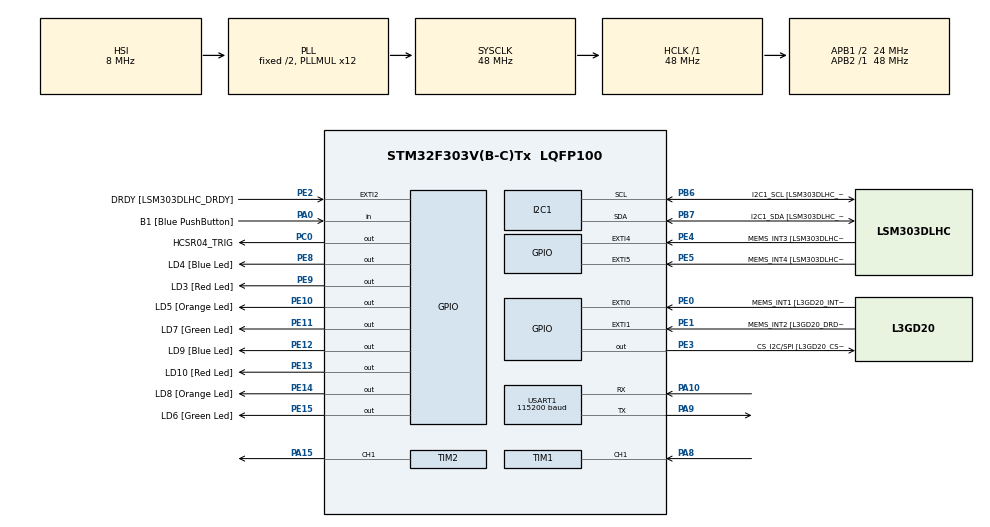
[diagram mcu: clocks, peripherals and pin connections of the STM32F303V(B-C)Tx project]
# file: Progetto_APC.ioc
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I2C1.Timing=0x00201D2B
Mcu.Family=STM32F3
Mcu.Name=STM32F303V(B-C)Tx
Mcu.Package=LQFP100
NVIC.PriorityGroup=NVIC_PRIORITYGROUP_0
NVIC.TIM1_CC_IRQn=true\:0\:0\:false\:false\:true\:true\:true\:true
NVIC.USART1_IRQn=true\:0\:0\:false\:false\:true\:true\:true\:true
PA0.GPIO_Label=B1 [Blue PushButton]
PA0.GPIO_Mode=GPIO_MODE_INPUT
PA0.GPIO_PuPd=GPIO_NOPULL
PA0.Signal=GPIO_Input
PA10.Mode=Asynchronous
PA10.Signal=USART1_RX
PA11.GPIO_Label=DM
PA11.Signal=USB_DM
PA12.GPIO_Label=DP
PA12.Signal=USB_DP
PA13.GPIO_Label=SWDIO
PA13.Signal=SYS_JTMS-SWDIO
PA14.GPIO_Label=SWCLK
PA14.Signal=SYS_JTCK-SWCLK
PA15.Signal=S_TIM2_CH1_ETR
PA5.GPIO_Label=SPI1_SCK [L3GD20_SCL/SPC]
PA5.GPIO_Mode=GPIO_MODE_AF_PP
PA5.GPIO_PuPd=GPIO_NOPULL
PA5.GPIO_Speed=GPIO_SPEED_FREQ_LOW
PA5.Signal=SPI1_SCK
PA6.GPIO_Label=SPI1_MISO [L3GD20_SA0/SDO]
PA6.GPIO_Mode=GPIO_MODE_AF_PP
PA6.GPIO_PuPd=GPIO_NOPULL
PA6.GPIO_Speed=GPIO_SPEED_FREQ_LOW
PA6.Signal=SPI1_MISO
PA7.GPIO_Label=SPI1_MISO [L3GD20_SDA/SDI/SDO]
PA7.GPIO_Mode=GPIO_MODE_AF_PP
PA7.GPIO_PuPd=GPIO_NOPULL
PA7.GPIO_Speed=GPIO_SPEED_FREQ_LOW
PA7.Signal=SPI1_MOSI
PA8.Signal=S_TIM1_CH1
PA9.Mode=Asynchronous
PA9.Signal=USART1_TX
PB3.GPIO_Label=SWO
PB3.Signal=SYS_JTDO-TRACESWO
PB6.GPIO_FM6=__NULL
PB6.GPIO_Label=I2C1_SCL [LSM303DLHC_SCL]
PB6.GPIO_Mode=GPIO_MODE_AF_OD
PB6.GPIO_PuPd=GPIO_NOPULL
PB6.GPIO_Speed=GPIO_SPEED_FREQ_LOW
PB6.Mode=I2C
PB6.Signal=I2C1_SCL
PB7.GPIO_FM7=__NULL
PB7.GPIO_Label=I2C1_SDA [LSM303DLHC_SDA]
PB7.GPIO_Mode=GPIO_MODE_AF_OD
PB7.GPIO_PuPd=GPIO_NOPULL
PB7.GPIO_Speed=GPIO_SPEED_FREQ_LOW
PB7.Mode=I2C
PB7.Signal=I2C1_SDA
PC0.GPIO_Label=HCSR04_TRIG
PC0.Signal=GPIO_Output
PC14-OSC32_IN.GPIO_Label=OSC32_IN
PC14-OSC32_IN.Signal=RCC_OSC32_IN
PC15-OSC32_OUT.GPIO_Label=OSC32_OUT
PC15-OSC32_OUT.Signal=RCC_OSC32_OUT
PE0.GPIO_Label=MEMS_INT1 [L3GD20_INT1]
PE0.GPIO_ModeDefaultEXTI=GPIO_MODE_EVT_RISING
PE0.GPIO_PuPd=GPIO_NOPULL
PE0.Signal=GPXTI0
PE1.GPIO_Label=MEMS_INT2 [L3GD20_DRDY/INT2]
PE1.GPIO_ModeDefaultEXTI=GPIO_MODE_EVT_RISING
PE1.GPIO_PuPd=GPIO_NOPULL
PE1.Signal=GPXTI1
PE10.GPIO_Label=LD5 [Orange Led]
PE10.GPIO_ModeDefaultOutputPP=GPIO_MODE_OUTPUT_PP
PE10.GPIO_PuPd=GPIO_NOPULL
PE10.GPIO_Speed=GPIO_SPEED_FREQ_LOW
PE10.Signal=GPIO_Output
PE11.GPIO_Label=LD7 [Green Led]
PE11.GPIO_ModeDefaultOutputPP=GPIO_MODE_OUTPUT_PP
PE11.GPIO_PuPd=GPIO_NOPULL
PE11.GPIO_Speed=GPIO_SPEED_FREQ_LOW
PE11.Signal=GPIO_Output
PE12.GPIO_Label=LD9 [Blue Led]
PE12.GPIO_ModeDefaultOutputPP=GPIO_MODE_OUTPUT_PP
PE12.GPIO_PuPd=GPIO_NOPULL
PE12.GPIO_Speed=GPIO_SPEED_FREQ_LOW
PE12.Signal=GPIO_Output
PE13.GPIO_Label=LD10 [Red Led]
PE13.GPIO_ModeDefaultOutputPP=GPIO_MODE_OUTPUT_PP
PE13.GPIO_PuPd=GPIO_NOPULL
PE13.GPIO_Speed=GPIO_SPEED_FREQ_LOW
PE13.Signal=GPIO_Output
PE14.GPIO_Label=LD8 [Orange Led]
PE14.GPIO_ModeDefaultOutputPP=GPIO_MODE_OUTPUT_PP
PE14.GPIO_PuPd=GPIO_NOPULL
PE14.GPIO_Speed=GPIO_SPEED_FREQ_LOW
PE14.Signal=GPIO_Output
PE15.GPIO_Label=LD6 [Green Led]
PE15.GPIO_ModeDefaultOutputPP=GPIO_MODE_OUTPUT_PP
PE15.GPIO_PuPd=GPIO_NOPULL
PE15.GPIO_Speed=GPIO_SPEED_FREQ_LOW
PE15.Signal=GPIO_Output
PE2.GPIO_Label=DRDY [LSM303DLHC_DRDY]
PE2.GPIO_ModeDefaultEXTI=GPIO_MODE_EVT_RISING
PE2.GPIO_PuPd=GPIO_NOPULL
PE2.Signal=GPXTI2
PE3.GPIO_Label=CS_I2C/SPI [L3GD20_CS_I2C/SPI]
PE3.GPIO_ModeDefaultOutputPP=GPIO_MODE_OUTPUT_PP
PE3.GPIO_PuPd=GPIO_NOPULL
PE3.GPIO_Speed=GPIO_SPEED_FREQ_LOW
PE3.Signal=GPIO_Output
PE4.GPIO_Label=MEMS_INT3 [LSM303DLHC_INT1]
PE4.GPIO_ModeDefaultEXTI=GPIO_MODE_EVT_RISING
PE4.GPIO_PuPd=GPIO_NOPULL
PE4.Signal=GPXTI4
PE5.GPIO_Label=MEMS_INT4 [LSM303DLHC_INT2]
PE5.GPIO_ModeDefaultEXTI=GPIO_MODE_EVT_RISING
PE5.GPIO_PuPd=GPIO_NOPULL
PE5.Signal=GPXTI5
PE8.GPIO_Label=LD4 [Blue Led]
PE8.GPIO_ModeDefaultOutputPP=GPIO_MODE_OUTPUT_PP
PE8.GPIO_PuPd=GPIO_NOPULL
PE8.GPIO_Speed=GPIO_SPEED_FREQ_LOW
PE8.Signal=GPIO_Output
PE9.GPIO_Label=LD3 [Red Led]
PE9.GPIO_ModeDefaultOutputPP=GPIO_MODE_OUTPUT_PP
PE9.GPIO_PuPd=GPIO_NOPULL
PE9.GPIO_Speed=GPIO_SPEED_FREQ_LOW
PE9.Signal=GPIO_Output
PF0-OSC_IN.GPIO_Label=OSC_IN
PF0-OSC_IN.Signal=RCC_OSC_IN
PF1-OSC_OUT.GPIO_Label=OSC_OUT
PF1-OSC_OUT.Signal=RCC_OSC_OUT
ProjectManager.HeapSize=0x200
ProjectManager.StackSize=0x400
ProjectManager.TargetToolchain=STM32CubeIDE
RCC.AHBFreq_Value=48000000
RCC.APB1CLKDivider=RCC_HCLK_DIV2
RCC.APB1Freq_Value=24000000
RCC.APB1TimFreq_Value=48000000
RCC.APB2Freq_Value=48000000
RCC.APB2TimFreq_Value=48000000
RCC.CortexFreq_Value=48000000
RCC.HCLKFreq_Value=48000000
RCC.HSE_VALUE=8000000
RCC.HSI_VALUE=8000000
RCC.LSE_VALUE=32768
RCC.PLLMUL=RCC_PLL_MUL12
RCC.SYSCLKFreq_VALUE=48000000
RCC.SYSCLKSourceVirtual=RCC_SYSCLKSOURCE_PLLCLK
RCC.USBFreq_Value=48000000
SH.S_TIM1_CH1.0=TIM1_CH1,Input_Capture1_from_TI1
SH.S_TIM2_CH1_ETR.0=TIM2_CH1,PWM Generation1 CH1
TIM1.Channel-Input_Capture1_from_TI1=TIM_CHANNEL_1
TIM1.Prescaler=47
TIM2.Channel-PWM\ Generation1\ CH1=TIM_CHANNEL_1
TIM2.Period=19999
TIM2.Prescaler=47
USART1.BaudRate=115200
USART1.VirtualMode-Asynchronous=VM_ASYNC
board=STM32F3DISCOVERY

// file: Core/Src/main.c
/* USER CODE BEGIN Header */
/**
  ******************************************************************************
  * @file           : main.c
  * @brief          : Main program body
  ******************************************************************************
  * @attention
  *
  * Copyright (c) 2026 STMicroelectronics.
  * All rights reserved.
  *
  * This software is licensed under terms that can be found in the LICENSE file
  * in the root directory of this software component.
  * If no LICENSE file comes with this software, it is provided AS-IS.
  *
  ******************************************************************************
  */
/* USER CODE END Header */
#include "main.h"

I2C_HandleTypeDef hi2c1;

TIM_HandleTypeDef htim1;
TIM_HandleTypeDef htim2;

UART_HandleTypeDef huart1;

/* USER CODE BEGIN PV */
/** HCSR04**/
volatile uint32_t ic_val1 = 0;
volatile uint32_t ic_val2 = 0;
volatile uint8_t  is_first_captured = 0;
volatile uint32_t distanza_cm = 0;
volatile uint8_t  nuova_distanza_pronta = 0;
// SERVO MOTORE:
typedef enum {
  STATO_ASSESTAMENTO,
  STATO_TRIGGER,
  STATO_ATTESA_ECHO
} StatoScan_t;

volatile StatoScan_t stato_scan = STATO_ASSESTAMENTO;
int16_t angolo_corrente = 0;
int8_t  direzione = 1;
uint32_t tempo_stato = 0;
volatile uint8_t trigger_esp32_pending = 0;

#define TEMPO_ASSESTAMENTO_MS 1000
#define TIMEOUT_ECHO_MS       60
#define PASSO_ANGOLO          5
#define SOGLIA_CM             20

/* USER CODE END PV */

void SystemClock_Config(void);
static void MX_GPIO_Init(void);
static void MX_I2C1_Init(void);
static void MX_TIM1_Init(void);
static void MX_TIM2_Init(void);
static void MX_USART1_UART_Init(void);
// esp32cam:
volatile uint8_t camera_occupata = 0;
uint32_t tempo_invio_trigger = 0;
volatile uint8_t cam_byte = 0;

#define TIMEOUT_CAMERA_MS 8000

/* USER CODE BEGIN 0 */
// HCSR04
static void DWT_Init(void)
{
  CoreDebug->DEMCR |= CoreDebug_DEMCR_TRCENA_Msk;
  DWT->CYCCNT = 0;
  DWT->CTRL |= DWT_CTRL_CYCCNTENA_Msk;
}

static void delay_us(uint32_t us)
{
  uint32_t start = DWT->CYCCNT;
  uint32_t ticks = us * (SystemCoreClock / 1000000);
  while ((DWT->CYCCNT - start) < ticks);
}

void HCSR04_Trigger(void)
{
  HAL_GPIO_WritePin(HCSR04_TRIG_GPIO_Port, HCSR04_TRIG_Pin, GPIO_PIN_RESET);
  delay_us(2);
  HAL_GPIO_WritePin(HCSR04_TRIG_GPIO_Port, HCSR04_TRIG_Pin, GPIO_PIN_SET);
  delay_us(10);
  HAL_GPIO_WritePin(HCSR04_TRIG_GPIO_Port, HCSR04_TRIG_Pin, GPIO_PIN_RESET);
}
// servo motore :
void Servo_SetAngle(uint8_t angle)
{
  // Mappa 0-180 gradi in 500-2500 microsecondi (datasheet SG90)
  uint32_t pulse = 500 + ((uint32_t)angle * 2000) / 180;
  __HAL_TIM_SET_COMPARE(&htim2, TIM_CHANNEL_1, pulse);
}

static void Avanza_Angolo(void)
{
  angolo_corrente += direzione * PASSO_ANGOLO;
  if (angolo_corrente >= 180) { angolo_corrente = 180; direzione = -1; }
  if (angolo_corrente <= 0)   { angolo_corrente = 0;   direzione = 1;  }
  Servo_SetAngle((uint8_t)angolo_corrente);
}

/* USER CODE END 0 */

int main(void)
{

  /* MCU Configuration--------------------------------------------------------*/

  /* Reset of all peripherals, Initializes the Flash interface and the Systick. */
  HAL_Init();

  /* Configure the system clock */
  SystemClock_Config();

  /* Initialize all configured peripherals */
  MX_GPIO_Init();
  MX_I2C1_Init();
  MX_TIM1_Init();
  MX_TIM2_Init();
  MX_USART1_UART_Init();
  /* USER CODE BEGIN 2 */
  // HCSR04
  DWT_Init();
  HAL_TIM_IC_Start_IT(&htim1, TIM_CHANNEL_1);
  // servo :

  HAL_TIM_PWM_Start(&htim2, TIM_CHANNEL_1);

  // esp32cam:
  HAL_UART_Receive_IT(&huart1, (uint8_t*)&cam_byte, 1);

  /* USER CODE END 2 */

  /* Infinite loop */
  while (1)
  {

    /* USER CODE BEGIN 3 */
	  // TEST HCSRO04
	/*  HCSR04_Trigger();
	  HAL_Delay(100);  // solo per questo test isolato, verrà rimosso quando arriva la FSM
	  if (nuova_distanza_pronta)
	  {
	    nuova_distanza_pronta = 0;
	    if (distanza_cm < 50)
	      HAL_GPIO_WritePin(LD3_GPIO_Port, LD3_Pin, GPIO_PIN_SET);
	    else
	      HAL_GPIO_WritePin(LD3_GPIO_Port, LD3_Pin, GPIO_PIN_RESET);
	  }*/
	  // servo motore:
	  switch (stato_scan)
	  {
	    case STATO_ASSESTAMENTO:
	      if (HAL_GetTick() - tempo_stato >= TEMPO_ASSESTAMENTO_MS)
	      {
	        stato_scan = STATO_TRIGGER;
	      }
	      break;

	    case STATO_TRIGGER:
	      HCSR04_Trigger();
	      tempo_stato = HAL_GetTick();
	      stato_scan = STATO_ATTESA_ECHO;
	      break;

	    case STATO_ATTESA_ECHO:
	      if (nuova_distanza_pronta)
	      {
	        nuova_distanza_pronta = 0;

	        if (distanza_cm < SOGLIA_CM)
	        {
	          HAL_GPIO_WritePin(LD3_GPIO_Port, LD3_Pin, GPIO_PIN_SET);

	          if (!camera_occupata)
	          {
	            trigger_esp32_pending = 1;
	            camera_occupata = 1;
	            tempo_invio_trigger = HAL_GetTick();
	          }
	        }
	        else
	        {
	          HAL_GPIO_WritePin(LD3_GPIO_Port, LD3_Pin, GPIO_PIN_RESET);
	        }

	        Avanza_Angolo();
	        tempo_stato = HAL_GetTick();
	        stato_scan = STATO_ASSESTAMENTO;
	      }
	      else if (HAL_GetTick() - tempo_stato >= TIMEOUT_ECHO_MS)
	      {
	        // Echo non arrivato in tempo: si salta questa misura, si avanza comunque
	        Avanza_Angolo();
	        tempo_stato = HAL_GetTick();
	        stato_scan = STATO_ASSESTAMENTO;
	      }
	      break;
	  }

	  if (trigger_esp32_pending)
	  {
	    trigger_esp32_pending = 0;
	    HAL_UART_Transmit(&huart1, (uint8_t*)"T", 1, HAL_MAX_DELAY);
	  }
	  if (camera_occupata && (HAL_GetTick() - tempo_invio_trigger >= TIMEOUT_CAMERA_MS))
	  {
	    camera_occupata = 0;
	  }
  }
  /* USER CODE END 3 */
}

void SystemClock_Config(void)
{
  RCC_OscInitTypeDef RCC_OscInitStruct = {0};
  RCC_ClkInitTypeDef RCC_ClkInitStruct = {0};
  RCC_PeriphCLKInitTypeDef PeriphClkInit = {0};

  /** Initializes the RCC Oscillators according to the specified parameters
  * in the RCC_OscInitTypeDef structure.
  */
  RCC_OscInitStruct.OscillatorType = RCC_OSCILLATORTYPE_HSI;
  RCC_OscInitStruct.HSIState = RCC_HSI_ON;
  RCC_OscInitStruct.HSICalibrationValue = RCC_HSICALIBRATION_DEFAULT;
  RCC_OscInitStruct.PLL.PLLState = RCC_PLL_ON;
  RCC_OscInitStruct.PLL.PLLSource = RCC_PLLSOURCE_HSI;
  RCC_OscInitStruct.PLL.PLLMUL = RCC_PLL_MUL12;
  if (HAL_RCC_OscConfig(&RCC_OscInitStruct) != HAL_OK)
  {
    Error_Handler();
  }

  /** Initializes the CPU, AHB and APB buses clocks
  */
  RCC_ClkInitStruct.ClockType = RCC_CLOCKTYPE_HCLK|RCC_CLOCKTYPE_SYSCLK
                              |RCC_CLOCKTYPE_PCLK1|RCC_CLOCKTYPE_PCLK2;
  RCC_ClkInitStruct.SYSCLKSource = RCC_SYSCLKSOURCE_PLLCLK;
  RCC_ClkInitStruct.AHBCLKDivider = RCC_SYSCLK_DIV1;
  RCC_ClkInitStruct.APB1CLKDivider = RCC_HCLK_DIV2;
  RCC_ClkInitStruct.APB2CLKDivider = RCC_HCLK_DIV1;

  if (HAL_RCC_ClockConfig(&RCC_ClkInitStruct, FLASH_LATENCY_1) != HAL_OK)
  {
    Error_Handler();
  }
  PeriphClkInit.PeriphClockSelection = RCC_PERIPHCLK_USART1|RCC_PERIPHCLK_I2C1
                              |RCC_PERIPHCLK_TIM1;
  PeriphClkInit.Usart1ClockSelection = RCC_USART1CLKSOURCE_PCLK2;
  PeriphClkInit.I2c1ClockSelection = RCC_I2C1CLKSOURCE_HSI;
  PeriphClkInit.Tim1ClockSelection = RCC_TIM1CLK_HCLK;
  if (HAL_RCCEx_PeriphCLKConfig(&PeriphClkInit) != HAL_OK)
  {
    Error_Handler();
  }
}

static void MX_I2C1_Init(void)
{

  hi2c1.Instance = I2C1;
  hi2c1.Init.Timing = 0x00201D2B;
  hi2c1.Init.OwnAddress1 = 0;
  hi2c1.Init.AddressingMode = I2C_ADDRESSINGMODE_7BIT;
  hi2c1.Init.DualAddressMode = I2C_DUALADDRESS_DISABLE;
  hi2c1.Init.OwnAddress2 = 0;
  hi2c1.Init.OwnAddress2Masks = I2C_OA2_NOMASK;
  hi2c1.Init.GeneralCallMode = I2C_GENERALCALL_DISABLE;
  hi2c1.Init.NoStretchMode = I2C_NOSTRETCH_DISABLE;
  if (HAL_I2C_Init(&hi2c1) != HAL_OK)
  {
    Error_Handler();
  }

  /** Configure Analogue filter
  */
  if (HAL_I2CEx_ConfigAnalogFilter(&hi2c1, I2C_ANALOGFILTER_ENABLE) != HAL_OK)
  {
    Error_Handler();
  }

  /** Configure Digital filter
  */
  if (HAL_I2CEx_ConfigDigitalFilter(&hi2c1, 0) != HAL_OK)
  {
    Error_Handler();
  }

}

static void MX_TIM1_Init(void)
{

  TIM_MasterConfigTypeDef sMasterConfig = {0};
  TIM_IC_InitTypeDef sConfigIC = {0};

  htim1.Instance = TIM1;
  htim1.Init.Prescaler = 47;
  htim1.Init.CounterMode = TIM_COUNTERMODE_UP;
  htim1.Init.Period = 65535;
  htim1.Init.ClockDivision = TIM_CLOCKDIVISION_DIV1;
  htim1.Init.RepetitionCounter = 0;
  htim1.Init.AutoReloadPreload = TIM_AUTORELOAD_PRELOAD_DISABLE;
  if (HAL_TIM_IC_Init(&htim1) != HAL_OK)
  {
    Error_Handler();
  }
  sMasterConfig.MasterOutputTrigger = TIM_TRGO_RESET;
  sMasterConfig.MasterOutputTrigger2 = TIM_TRGO2_RESET;
  sMasterConfig.MasterSlaveMode = TIM_MASTERSLAVEMODE_DISABLE;
  if (HAL_TIMEx_MasterConfigSynchronization(&htim1, &sMasterConfig) != HAL_OK)
  {
    Error_Handler();
  }
  sConfigIC.ICPolarity = TIM_INPUTCHANNELPOLARITY_RISING;
  sConfigIC.ICSelection = TIM_ICSELECTION_DIRECTTI;
  sConfigIC.ICPrescaler = TIM_ICPSC_DIV1;
  sConfigIC.ICFilter = 0;
  if (HAL_TIM_IC_ConfigChannel(&htim1, &sConfigIC, TIM_CHANNEL_1) != HAL_OK)
  {
    Error_Handler();
  }

}

static void MX_TIM2_Init(void)
{

  TIM_MasterConfigTypeDef sMasterConfig = {0};
  TIM_OC_InitTypeDef sConfigOC = {0};

  htim2.Instance = TIM2;
  htim2.Init.Prescaler = 47;
  htim2.Init.CounterMode = TIM_COUNTERMODE_UP;
  htim2.Init.Period = 19999;
  htim2.Init.ClockDivision = TIM_CLOCKDIVISION_DIV1;
  htim2.Init.AutoReloadPreload = TIM_AUTORELOAD_PRELOAD_DISABLE;
  if (HAL_TIM_PWM_Init(&htim2) != HAL_OK)
  {
    Error_Handler();
  }
  sMasterConfig.MasterOutputTrigger = TIM_TRGO_RESET;
  sMasterConfig.MasterSlaveMode = TIM_MASTERSLAVEMODE_DISABLE;
  if (HAL_TIMEx_MasterConfigSynchronization(&htim2, &sMasterConfig) != HAL_OK)
  {
    Error_Handler();
  }
  sConfigOC.OCMode = TIM_OCMODE_PWM1;
  sConfigOC.Pulse = 0;
  sConfigOC.OCPolarity = TIM_OCPOLARITY_HIGH;
  sConfigOC.OCFastMode = TIM_OCFAST_DISABLE;
  if (HAL_TIM_PWM_ConfigChannel(&htim2, &sConfigOC, TIM_CHANNEL_1) != HAL_OK)
  {
    Error_Handler();
  }
  HAL_TIM_MspPostInit(&htim2);

}

static void MX_USART1_UART_Init(void)
{

  huart1.Instance = USART1;
  huart1.Init.BaudRate = 115200;
  huart1.Init.WordLength = UART_WORDLENGTH_8B;
  huart1.Init.StopBits = UART_STOPBITS_1;
  huart1.Init.Parity = UART_PARITY_NONE;
  huart1.Init.Mode = UART_MODE_TX_RX;
  huart1.Init.HwFlowCtl = UART_HWCONTROL_NONE;
  huart1.Init.OverSampling = UART_OVERSAMPLING_16;
  huart1.Init.OneBitSampling = UART_ONE_BIT_SAMPLE_DISABLE;
  huart1.AdvancedInit.AdvFeatureInit = UART_ADVFEATURE_NO_INIT;
  if (HAL_UART_Init(&huart1) != HAL_OK)
  {
    Error_Handler();
  }

}

static void MX_GPIO_Init(void)
{
  GPIO_InitTypeDef GPIO_InitStruct = {0};

  /* GPIO Ports Clock Enable */
  __HAL_RCC_GPIOE_CLK_ENABLE();
  __HAL_RCC_GPIOC_CLK_ENABLE();
  __HAL_RCC_GPIOF_CLK_ENABLE();
  __HAL_RCC_GPIOA_CLK_ENABLE();
  __HAL_RCC_GPIOB_CLK_ENABLE();

  /*Configure GPIO pin Output Level */
  HAL_GPIO_WritePin(GPIOE, CS_I2C_SPI_Pin|LD4_Pin|LD3_Pin|LD5_Pin
                          |LD7_Pin|LD9_Pin|LD10_Pin|LD8_Pin
                          |LD6_Pin, GPIO_PIN_RESET);

  /*Configure GPIO pin Output Level */
  HAL_GPIO_WritePin(HCSR04_TRIG_GPIO_Port, HCSR04_TRIG_Pin, GPIO_PIN_RESET);

  /*Configure GPIO pins : DRDY_Pin MEMS_INT3_Pin MEMS_INT4_Pin MEMS_INT1_Pin
                           MEMS_INT2_Pin */
  GPIO_InitStruct.Pin = DRDY_Pin|MEMS_INT3_Pin|MEMS_INT4_Pin|MEMS_INT1_Pin
                          |MEMS_INT2_Pin;
  GPIO_InitStruct.Mode = GPIO_MODE_EVT_RISING;
  GPIO_InitStruct.Pull = GPIO_NOPULL;
  HAL_GPIO_Init(GPIOE, &GPIO_InitStruct);

  /*Configure GPIO pins : CS_I2C_SPI_Pin LD4_Pin LD3_Pin LD5_Pin
                           LD7_Pin LD9_Pin LD10_Pin LD8_Pin
                           LD6_Pin */
  GPIO_InitStruct.Pin = CS_I2C_SPI_Pin|LD4_Pin|LD3_Pin|LD5_Pin
                          |LD7_Pin|LD9_Pin|LD10_Pin|LD8_Pin
                          |LD6_Pin;
  GPIO_InitStruct.Mode = GPIO_MODE_OUTPUT_PP;
  GPIO_InitStruct.Pull = GPIO_NOPULL;
  GPIO_InitStruct.Speed = GPIO_SPEED_FREQ_LOW;
  HAL_GPIO_Init(GPIOE, &GPIO_InitStruct);

  /*Configure GPIO pin : HCSR04_TRIG_Pin */
  GPIO_InitStruct.Pin = HCSR04_TRIG_Pin;
  GPIO_InitStruct.Mode = GPIO_MODE_OUTPUT_PP;
  GPIO_InitStruct.Pull = GPIO_NOPULL;
  GPIO_InitStruct.Speed = GPIO_SPEED_FREQ_LOW;
  HAL_GPIO_Init(HCSR04_TRIG_GPIO_Port, &GPIO_InitStruct);

  /*Configure GPIO pin : B1_Pin */
  GPIO_InitStruct.Pin = B1_Pin;
  GPIO_InitStruct.Mode = GPIO_MODE_INPUT;
  GPIO_InitStruct.Pull = GPIO_NOPULL;
  HAL_GPIO_Init(B1_GPIO_Port, &GPIO_InitStruct);

  /*Configure GPIO pins : SPI1_SCK_Pin SPI1_MISO_Pin SPI1_MISOA7_Pin */
  GPIO_InitStruct.Pin = SPI1_SCK_Pin|SPI1_MISO_Pin|SPI1_MISOA7_Pin;
  GPIO_InitStruct.Mode = GPIO_MODE_AF_PP;
  GPIO_InitStruct.Pull = GPIO_NOPULL;
  GPIO_InitStruct.Speed = GPIO_SPEED_FREQ_LOW;
  GPIO_InitStruct.Alternate = GPIO_AF5_SPI1;
  HAL_GPIO_Init(GPIOA, &GPIO_InitStruct);

  /*Configure GPIO pins : DM_Pin DP_Pin */
  GPIO_InitStruct.Pin = DM_Pin|DP_Pin;
  GPIO_InitStruct.Mode = GPIO_MODE_AF_PP;
  GPIO_InitStruct.Pull = GPIO_NOPULL;
  GPIO_InitStruct.Speed = GPIO_SPEED_FREQ_HIGH;
  GPIO_InitStruct.Alternate = GPIO_AF14_USB;
  HAL_GPIO_Init(GPIOA, &GPIO_InitStruct);

}

/* USER CODE BEGIN 4 */
void HAL_TIM_IC_CaptureCallback(TIM_HandleTypeDef *htim)
{
  if (htim->Instance == TIM1 && htim->Channel == HAL_TIM_ACTIVE_CHANNEL_1)
  {
    if (is_first_captured == 0)
    {
      ic_val1 = HAL_TIM_ReadCapturedValue(htim, TIM_CHANNEL_1);
      is_first_captured = 1;
      __HAL_TIM_SET_CAPTUREPOLARITY(htim, TIM_CHANNEL_1, TIM_INPUTCHANNELPOLARITY_FALLING);
    }
    else
    {
      ic_val2 = HAL_TIM_ReadCapturedValue(htim, TIM_CHANNEL_1);

      uint32_t durata_us;
      if (ic_val2 >= ic_val1)
        durata_us = ic_val2 - ic_val1;
      else
        durata_us = (65535 - ic_val1) + ic_val2;

      distanza_cm = durata_us / 58;
      nuova_distanza_pronta = 1;

      is_first_captured = 0;
      __HAL_TIM_SET_CAPTUREPOLARITY(htim, TIM_CHANNEL_1, TIM_INPUTCHANNELPOLARITY_RISING);
    }
  }
}

// esp32cam:
void HAL_UART_RxCpltCallback(UART_HandleTypeDef *huart)
{
  if (huart->Instance == USART1)
  {
    if (cam_byte == 'K' || cam_byte == 'E')
    {
      camera_occupata = 0;
    }

    HAL_UART_Receive_IT(&huart1, (uint8_t*)&cam_byte, 1); // re-arm, fondamentale
  }
}

/* USER CODE END 4 */

void Error_Handler(void)
{
  __disable_irq();
  while (1)
  {
  }
}
